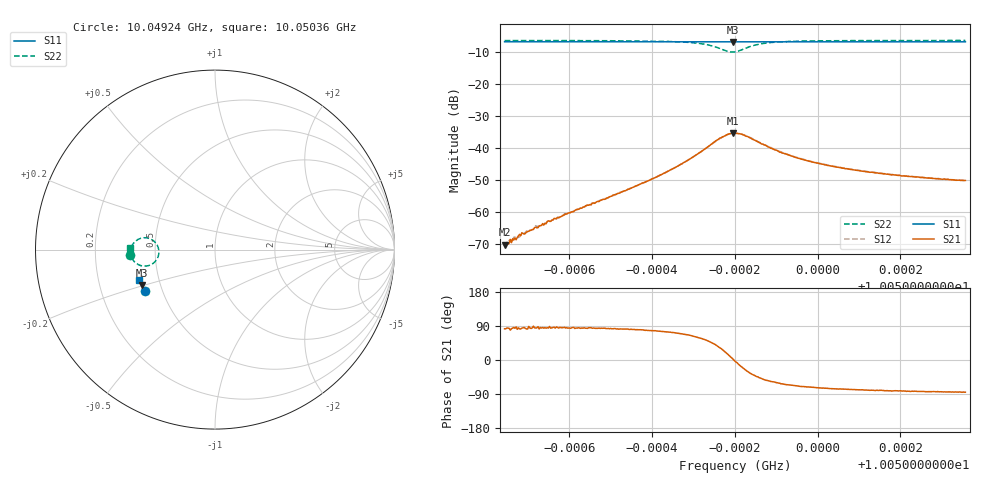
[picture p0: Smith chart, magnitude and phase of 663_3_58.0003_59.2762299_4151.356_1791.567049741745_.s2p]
#  HZ  S  RI  R  50.00
! Rohde & Schwarz Vector Network Analyzer
! Rohde-Schwarz,ZNB20-2Port,1311601062101988,3.16
! Created: UTC 3/21/2024, 1:20:03 AM
! freq[Hz]  re:S11  im:S11  re:S21  im:S21  re:S12  im:S12  re:S22  im:S22
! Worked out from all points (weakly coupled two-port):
!   401 points, 10.04924 GHz to 10.05036 GHz, reference 50 ohm
!   highest |S21| = -35.45 dB at 10.04979 GHz (marker M1); lowest = -70.3 dB at 10.04924 GHz (marker M2)
!   lowest |S11| = -6.9 dB at 10.04979 GHz (marker M3), VSWR 2.65, Z = 19.8 - j9.92 ohm
!   |S11| at or under -10 dB: nowhere
!   |S22| runs from -10.1 to -6.5 dB; largest |S21 - S12| = 0.0015
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1.0049243e10  -0.3904 -0.2328  4.08e-05 0.000301  9.3e-06 0.000288  -0.4739 -0.0308
1.0049263e10  -0.3911 -0.2317  3.9e-05 0.000375  3.03e-05 0.000352  -0.474 -0.0287
1.0049265e10  -0.3909 -0.2315  2.65e-05 0.000358  2.95e-05 0.000396  -0.4739 -0.0284
1.0049282e10  -0.3916 -0.2305  5.74e-05 0.000417  1.99e-05 0.000428  -0.4738 -0.0269
1.0049296e10  -0.392 -0.2296  6.79e-05 0.000472  -5.47e-06 0.000498  -0.4739 -0.0254
1.0049321e10  -0.3928 -0.2283  5.38e-05 0.000557  3.02e-05 0.000588  -0.4736 -0.0229
1.004943e10  -0.3962 -0.2218  0.000106 0.00113  5.63e-05 0.00116  -0.4725 -0.0102
1.0049488e10  -0.3981 -0.2183  0.000194 0.0016  0.00012 0.00158  -0.4711 -0.00233
1.0049616e10  -0.4017 -0.2106  0.00086 0.00353  0.000665 0.0036  -0.4618 0.024
1.0049686e10  -0.4036 -0.2062  0.00255 0.00585  0.0022 0.00595  -0.4421 0.0479
1.0049747e10  -0.4048 -0.2022  0.00859 0.00822  0.00796 0.00863  -0.3814 0.0654
1.0049775e10  -0.4048 -0.2005  0.0141 0.00582  0.0137 0.00677  -0.3311 0.0381
1.0049795e10  -0.405 -0.1997  0.0169 0.000839  0.0165 0.00222  -0.3124 -0.0112
1.00498e10  -0.4051 -0.1997  0.0168 -0.000945  0.0169 0.000558  -0.3137 -0.0272
1.0049817e10  -0.4057 -0.1994  0.0153 -0.00526  0.0157 -0.00403  -0.334 -0.0673
1.0049831e10  -0.4063 -0.1986  0.0129 -0.00755  0.0135 -0.00658  -0.3605 -0.0857
1.004987e10  -0.4079 -0.1967  0.00692 -0.00869  0.00755 -0.00823  -0.4192 -0.0871
1.0049915e10  -0.4094 -0.194  0.00374 -0.00732  0.00431 -0.00724  -0.4489 -0.0677
1.0049987e10  -0.4115 -0.1896  0.00184 -0.00566  0.00221 -0.00566  -0.4656 -0.0435
1.0050071e10  -0.4138 -0.1843  0.00103 -0.00459  0.0013 -0.00451  -0.4716 -0.0256
1.0050174e10  -0.4164 -0.1779  0.000567 -0.00376  0.000854 -0.00377  -0.4743 -0.0106
1.0050357e10  -0.4208 -0.1667  0.000272 -0.00306  0.000439 -0.00303  -0.4753 0.00903
